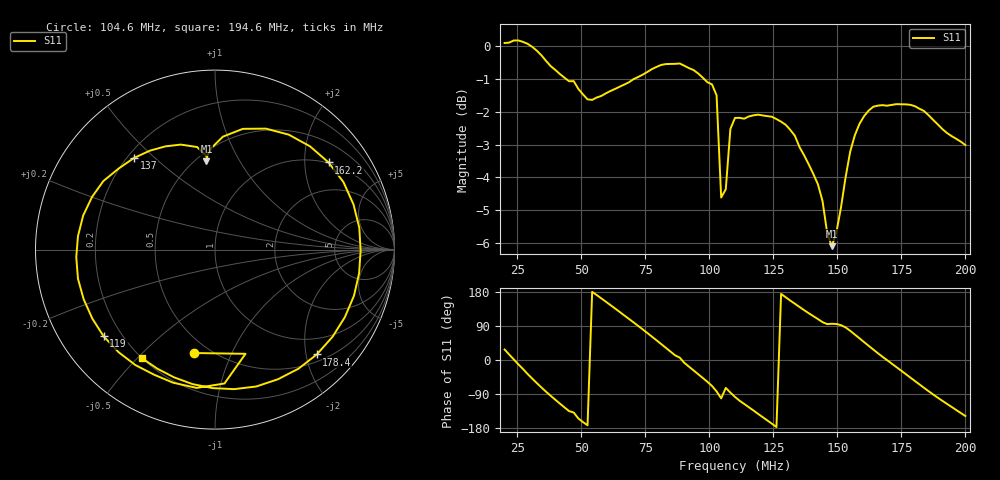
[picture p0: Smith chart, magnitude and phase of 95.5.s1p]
# HZ S RI R 50
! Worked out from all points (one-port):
!   101 points, 20 MHz to 200 MHz, reference 50 ohm
!   lowest |S11| = -6.1 dB at 147.8 MHz (marker M1), VSWR 2.96, Z = 28.1 + j36.8 ohm
!   |S11| at or under -10 dB: nowhere
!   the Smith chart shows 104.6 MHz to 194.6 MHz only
!   S11 on the Smith chart (normalised r, x): 104.6 MHz: 0.42, -0.73; 119 MHz: 0.13, -0.34; 137 MHz: 0.23, +0.43; 162.2 MHz: 0.98, +2.62; 178.4 MHz: 0.64, -2.21; 194.6 MHz: 0.20, -0.52
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2e7  0.8954 0.4708
2.54e7  0.9997 -0.2057
3.26e7  0.4769 -0.8614
3.8e7  -0.0726 -0.9299
4.34e7  -0.5146 -0.7326
5.42e7  -0.8282 0.0019
6.5e7  -0.5165 0.6972
7.58e7  0.2966 0.8644
8.3e7  0.7962 0.4985
8.84e7  0.9356 0.1043
9.38e7  0.8168 -0.4232
9.92e7  0.4744 -0.7428
1.028e8  0.1044 -0.8353
1.046e8  -0.1147 -0.5762
1.064e8  0.17 -0.5806
1.1e8  -0.102 -0.7706
1.19e8  -0.6201 -0.4835
1.262e8  -0.773 -0.0416
1.334e8  -0.622 0.3819
1.37e8  -0.4521 0.5101
1.478e8  -0.0478 0.4928
1.55e8  0.155 0.6728
1.622e8  0.6326 0.4857
1.694e8  0.8114 -0.00487
1.784e8  0.5671 -0.5842
1.856e8  0.1069 -0.7775
1.946e8  -0.4049 -0.6065
2e8  -0.5977 -0.3767
